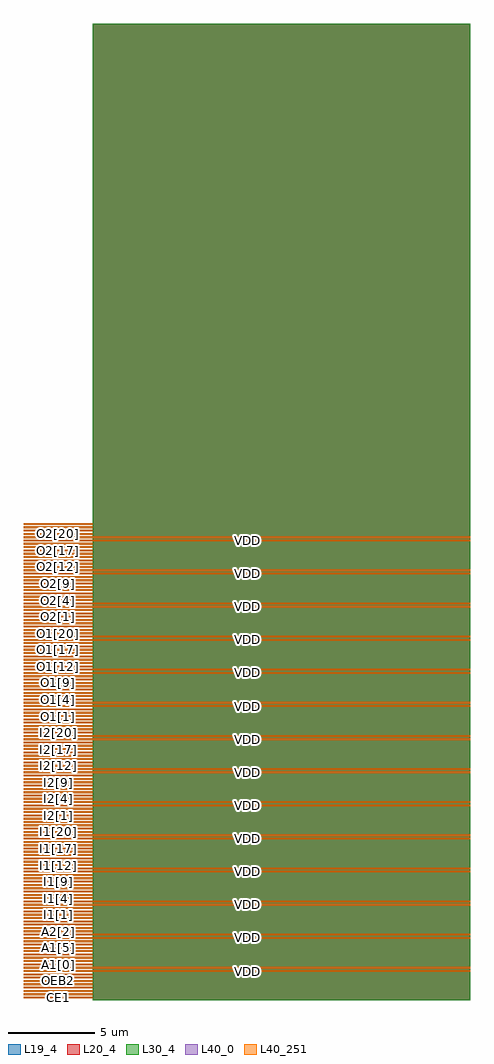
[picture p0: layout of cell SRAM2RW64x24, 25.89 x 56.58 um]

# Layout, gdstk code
import gdstk
lib = gdstk.Library(unit=1e-6, precision=1e-09)
def R(c, l, rs):  # rectangles x0, y0, x1, y1
    for r in rs: c.add(gdstk.rectangle(r[:2], r[2:], *l))
def A(c, l, x, y, w, h, nx, ny, dx, dy):  # array of equal rectangles
    R(c, l, [(x+i*dx, y+j*dy, x+i*dx+w, y+j*dy+h) for i in range(nx) for j in range(ny)])
L19_4 = (19, 4)
L20_4 = (20, 4)
L30_4 = (30, 4)
L40_0 = (40, 0)
L40_251 = (40, 251)

sram2rw64x24 = lib.new_cell('SRAM2RW64x24')
R(sram2rw64x24, L19_4, [(4,0,25.888,56.584)])
R(sram2rw64x24, L20_4, [(4,0,25.888,56.584)])
R(sram2rw64x24, L30_4, [(4,0,25.888,56.584)])
A(sram2rw64x24, L40_0, 0, 0.096, 4, 0.096, 1, 8, 0, 0.192)
A(sram2rw64x24, L40_0, 0, 2.016, 4, 0.096, 1, 8, 0, 0.192)
A(sram2rw64x24, L40_0, 0, 3.936, 4, 0.096, 1, 8, 0, 0.192)
A(sram2rw64x24, L40_0, 0, 5.856, 4, 0.096, 1, 8, 0, 0.192)
A(sram2rw64x24, L40_0, 0, 7.776, 4, 0.096, 1, 8, 0, 0.192)
A(sram2rw64x24, L40_0, 0, 9.696, 4, 0.096, 1, 8, 0, 0.192)
A(sram2rw64x24, L40_0, 0, 11.616, 4, 0.096, 1, 8, 0, 0.192)
A(sram2rw64x24, L40_0, 0, 13.536, 4, 0.096, 1, 8, 0, 0.192)
A(sram2rw64x24, L40_0, 0, 15.456, 4, 0.096, 1, 8, 0, 0.192)
A(sram2rw64x24, L40_0, 0, 17.376, 4, 0.096, 1, 8, 0, 0.192)
A(sram2rw64x24, L40_0, 0, 19.296, 4, 0.096, 1, 8, 0, 0.192)
A(sram2rw64x24, L40_0, 0, 21.216, 4, 0.096, 1, 8, 0, 0.192)
A(sram2rw64x24, L40_0, 0, 23.136, 4, 0.096, 1, 8, 0, 0.192)
A(sram2rw64x24, L40_0, 0, 25.056, 4, 0.096, 1, 8, 0, 0.192)
A(sram2rw64x24, L40_0, 0, 26.976, 4, 0.096, 1, 4, 0, 0.192)
R(sram2rw64x24, L40_0, [(0,1.632,25.888,1.728), (0,1.824,25.888,1.92), (0,3.552,25.888,3.648), (0,3.744,25.888,3.84), (0,5.472,25.888,5.568), (0,5.664,25.888,5.76), (0,7.392,25.888,7.488), (0,7.584,25.888,7.68), (0,9.312,25.888,9.408), (0,9.504,25.888,9.6), (0,11.232,25.888,11.328), (0,11.424,25.888,11.52), (0,13.152,25.888,13.248), (0,13.344,25.888,13.44), (0,15.072,25.888,15.168), (0,15.264,25.888,15.36), (0,16.992,25.888,17.088), (0,17.184,25.888,17.28), (0,18.912,25.888,19.008), (0,19.104,25.888,19.2), (0,20.832,25.888,20.928), (0,21.024,25.888,21.12), (0,22.752,25.888,22.848), (0,22.944,25.888,23.04), (0,24.672,25.888,24.768), (0,24.864,25.888,24.96), (0,26.592,25.888,26.688), (0,26.784,25.888,26.88)])
A(sram2rw64x24, L40_251, 0, 0.096, 4, 0.096, 1, 8, 0, 0.192)
A(sram2rw64x24, L40_251, 0, 2.016, 4, 0.096, 1, 8, 0, 0.192)
A(sram2rw64x24, L40_251, 0, 3.936, 4, 0.096, 1, 8, 0, 0.192)
A(sram2rw64x24, L40_251, 0, 5.856, 4, 0.096, 1, 8, 0, 0.192)
A(sram2rw64x24, L40_251, 0, 7.776, 4, 0.096, 1, 8, 0, 0.192)
A(sram2rw64x24, L40_251, 0, 9.696, 4, 0.096, 1, 8, 0, 0.192)
A(sram2rw64x24, L40_251, 0, 11.616, 4, 0.096, 1, 8, 0, 0.192)
A(sram2rw64x24, L40_251, 0, 13.536, 4, 0.096, 1, 8, 0, 0.192)
A(sram2rw64x24, L40_251, 0, 15.456, 4, 0.096, 1, 8, 0, 0.192)
A(sram2rw64x24, L40_251, 0, 17.376, 4, 0.096, 1, 8, 0, 0.192)
A(sram2rw64x24, L40_251, 0, 19.296, 4, 0.096, 1, 8, 0, 0.192)
A(sram2rw64x24, L40_251, 0, 21.216, 4, 0.096, 1, 8, 0, 0.192)
A(sram2rw64x24, L40_251, 0, 23.136, 4, 0.096, 1, 8, 0, 0.192)
A(sram2rw64x24, L40_251, 0, 25.056, 4, 0.096, 1, 8, 0, 0.192)
A(sram2rw64x24, L40_251, 0, 26.976, 4, 0.096, 1, 4, 0, 0.192)
R(sram2rw64x24, L40_251, [(0,1.632,25.888,1.728), (0,1.824,25.888,1.92), (0,3.552,25.888,3.648), (0,3.744,25.888,3.84), (0,5.472,25.888,5.568), (0,5.664,25.888,5.76), (0,7.392,25.888,7.488), (0,7.584,25.888,7.68), (0,9.312,25.888,9.408), (0,9.504,25.888,9.6), (0,11.232,25.888,11.328), (0,11.424,25.888,11.52), (0,13.152,25.888,13.248), (0,13.344,25.888,13.44), (0,15.072,25.888,15.168), (0,15.264,25.888,15.36), (0,16.992,25.888,17.088), (0,17.184,25.888,17.28), (0,18.912,25.888,19.008), (0,19.104,25.888,19.2), (0,20.832,25.888,20.928), (0,21.024,25.888,21.12), (0,22.752,25.888,22.848), (0,22.944,25.888,23.04), (0,24.672,25.888,24.768), (0,24.864,25.888,24.96), (0,26.592,25.888,26.688), (0,26.784,25.888,26.88)])
sram2rw64x24.add(gdstk.Label('CE1', (2,0.144), layer=40, texttype=0))
sram2rw64x24.add(gdstk.Label('CE2', (2,0.336), layer=40, texttype=0))
sram2rw64x24.add(gdstk.Label('WEB1', (2,0.528), layer=40, texttype=0))
sram2rw64x24.add(gdstk.Label('WEB2', (2,0.72), layer=40, texttype=0))
sram2rw64x24.add(gdstk.Label('OEB1', (2,0.912), layer=40, texttype=0))
sram2rw64x24.add(gdstk.Label('OEB2', (2,1.104), layer=40, texttype=0))
sram2rw64x24.add(gdstk.Label('CSB1', (2,1.296), layer=40, texttype=0))
sram2rw64x24.add(gdstk.Label('CSB2', (2,1.488), layer=40, texttype=0))
sram2rw64x24.add(gdstk.Label('A1[0]', (2,2.064), layer=40, texttype=0))
sram2rw64x24.add(gdstk.Label('A1[1]', (2,2.256), layer=40, texttype=0))
sram2rw64x24.add(gdstk.Label('A1[2]', (2,2.448), layer=40, texttype=0))
sram2rw64x24.add(gdstk.Label('A1[3]', (2,2.64), layer=40, texttype=0))
sram2rw64x24.add(gdstk.Label('A1[4]', (2,2.832), layer=40, texttype=0))
sram2rw64x24.add(gdstk.Label('A1[5]', (2,3.024), layer=40, texttype=0))
sram2rw64x24.add(gdstk.Label('A2[0]', (2,3.216), layer=40, texttype=0))
sram2rw64x24.add(gdstk.Label('A2[1]', (2,3.408), layer=40, texttype=0))
sram2rw64x24.add(gdstk.Label('A2[2]', (2,3.984), layer=40, texttype=0))
sram2rw64x24.add(gdstk.Label('A2[3]', (2,4.176), layer=40, texttype=0))
sram2rw64x24.add(gdstk.Label('A2[4]', (2,4.368), layer=40, texttype=0))
sram2rw64x24.add(gdstk.Label('A2[5]', (2,4.56), layer=40, texttype=0))
sram2rw64x24.add(gdstk.Label('I1[0]', (2,4.752), layer=40, texttype=0))
sram2rw64x24.add(gdstk.Label('I1[1]', (2,4.944), layer=40, texttype=0))
sram2rw64x24.add(gdstk.Label('I1[2]', (2,5.136), layer=40, texttype=0))
sram2rw64x24.add(gdstk.Label('I1[3]', (2,5.328), layer=40, texttype=0))
sram2rw64x24.add(gdstk.Label('I1[4]', (2,5.904), layer=40, texttype=0))
sram2rw64x24.add(gdstk.Label('I1[5]', (2,6.096), layer=40, texttype=0))
sram2rw64x24.add(gdstk.Label('I1[6]', (2,6.288), layer=40, texttype=0))
sram2rw64x24.add(gdstk.Label('I1[7]', (2,6.48), layer=40, texttype=0))
sram2rw64x24.add(gdstk.Label('I1[8]', (2,6.672), layer=40, texttype=0))
sram2rw64x24.add(gdstk.Label('I1[9]', (2,6.864), layer=40, texttype=0))
sram2rw64x24.add(gdstk.Label('I1[10]', (2,7.056), layer=40, texttype=0))
sram2rw64x24.add(gdstk.Label('I1[11]', (2,7.248), layer=40, texttype=0))
sram2rw64x24.add(gdstk.Label('I1[12]', (2,7.824), layer=40, texttype=0))
sram2rw64x24.add(gdstk.Label('I1[13]', (2,8.016), layer=40, texttype=0))
sram2rw64x24.add(gdstk.Label('I1[14]', (2,8.208), layer=40, texttype=0))
sram2rw64x24.add(gdstk.Label('I1[15]', (2,8.4), layer=40, texttype=0))
sram2rw64x24.add(gdstk.Label('I1[16]', (2,8.592), layer=40, texttype=0))
sram2rw64x24.add(gdstk.Label('I1[17]', (2,8.784), layer=40, texttype=0))
sram2rw64x24.add(gdstk.Label('I1[18]', (2,8.976), layer=40, texttype=0))
sram2rw64x24.add(gdstk.Label('I1[19]', (2,9.168), layer=40, texttype=0))
sram2rw64x24.add(gdstk.Label('I1[20]', (2,9.744), layer=40, texttype=0))
sram2rw64x24.add(gdstk.Label('I1[21]', (2,9.936), layer=40, texttype=0))
sram2rw64x24.add(gdstk.Label('I1[22]', (2,10.128), layer=40, texttype=0))
sram2rw64x24.add(gdstk.Label('I1[23]', (2,10.32), layer=40, texttype=0))
sram2rw64x24.add(gdstk.Label('I2[0]', (2,10.512), layer=40, texttype=0))
sram2rw64x24.add(gdstk.Label('I2[1]', (2,10.704), layer=40, texttype=0))
sram2rw64x24.add(gdstk.Label('I2[2]', (2,10.896), layer=40, texttype=0))
sram2rw64x24.add(gdstk.Label('I2[3]', (2,11.088), layer=40, texttype=0))
sram2rw64x24.add(gdstk.Label('I2[4]', (2,11.664), layer=40, texttype=0))
sram2rw64x24.add(gdstk.Label('I2[5]', (2,11.856), layer=40, texttype=0))
sram2rw64x24.add(gdstk.Label('I2[6]', (2,12.048), layer=40, texttype=0))
sram2rw64x24.add(gdstk.Label('I2[7]', (2,12.24), layer=40, texttype=0))
sram2rw64x24.add(gdstk.Label('I2[8]', (2,12.432), layer=40, texttype=0))
sram2rw64x24.add(gdstk.Label('I2[9]', (2,12.624), layer=40, texttype=0))
sram2rw64x24.add(gdstk.Label('I2[10]', (2,12.816), layer=40, texttype=0))
sram2rw64x24.add(gdstk.Label('I2[11]', (2,13.008), layer=40, texttype=0))
sram2rw64x24.add(gdstk.Label('I2[12]', (2,13.584), layer=40, texttype=0))
sram2rw64x24.add(gdstk.Label('I2[13]', (2,13.776), layer=40, texttype=0))
sram2rw64x24.add(gdstk.Label('I2[14]', (2,13.968), layer=40, texttype=0))
sram2rw64x24.add(gdstk.Label('I2[15]', (2,14.16), layer=40, texttype=0))
sram2rw64x24.add(gdstk.Label('I2[16]', (2,14.352), layer=40, texttype=0))
sram2rw64x24.add(gdstk.Label('I2[17]', (2,14.544), layer=40, texttype=0))
sram2rw64x24.add(gdstk.Label('I2[18]', (2,14.736), layer=40, texttype=0))
sram2rw64x24.add(gdstk.Label('I2[19]', (2,14.928), layer=40, texttype=0))
sram2rw64x24.add(gdstk.Label('I2[20]', (2,15.504), layer=40, texttype=0))
sram2rw64x24.add(gdstk.Label('I2[21]', (2,15.696), layer=40, texttype=0))
sram2rw64x24.add(gdstk.Label('I2[22]', (2,15.888), layer=40, texttype=0))
sram2rw64x24.add(gdstk.Label('I2[23]', (2,16.08), layer=40, texttype=0))
sram2rw64x24.add(gdstk.Label('O1[0]', (2,16.272), layer=40, texttype=0))
sram2rw64x24.add(gdstk.Label('O1[1]', (2,16.464), layer=40, texttype=0))
sram2rw64x24.add(gdstk.Label('O1[2]', (2,16.656), layer=40, texttype=0))
sram2rw64x24.add(gdstk.Label('O1[3]', (2,16.848), layer=40, texttype=0))
sram2rw64x24.add(gdstk.Label('O1[4]', (2,17.424), layer=40, texttype=0))
sram2rw64x24.add(gdstk.Label('O1[5]', (2,17.616), layer=40, texttype=0))
sram2rw64x24.add(gdstk.Label('O1[6]', (2,17.808), layer=40, texttype=0))
sram2rw64x24.add(gdstk.Label('O1[7]', (2,18), layer=40, texttype=0))
sram2rw64x24.add(gdstk.Label('O1[8]', (2,18.192), layer=40, texttype=0))
sram2rw64x24.add(gdstk.Label('O1[9]', (2,18.384), layer=40, texttype=0))
sram2rw64x24.add(gdstk.Label('O1[10]', (2,18.576), layer=40, texttype=0))
sram2rw64x24.add(gdstk.Label('O1[11]', (2,18.768), layer=40, texttype=0))
sram2rw64x24.add(gdstk.Label('O1[12]', (2,19.344), layer=40, texttype=0))
sram2rw64x24.add(gdstk.Label('O1[13]', (2,19.536), layer=40, texttype=0))
sram2rw64x24.add(gdstk.Label('O1[14]', (2,19.728), layer=40, texttype=0))
sram2rw64x24.add(gdstk.Label('O1[15]', (2,19.92), layer=40, texttype=0))
sram2rw64x24.add(gdstk.Label('O1[16]', (2,20.112), layer=40, texttype=0))
sram2rw64x24.add(gdstk.Label('O1[17]', (2,20.304), layer=40, texttype=0))
sram2rw64x24.add(gdstk.Label('O1[18]', (2,20.496), layer=40, texttype=0))
sram2rw64x24.add(gdstk.Label('O1[19]', (2,20.688), layer=40, texttype=0))
sram2rw64x24.add(gdstk.Label('O1[20]', (2,21.264), layer=40, texttype=0))
sram2rw64x24.add(gdstk.Label('O1[21]', (2,21.456), layer=40, texttype=0))
sram2rw64x24.add(gdstk.Label('O1[22]', (2,21.648), layer=40, texttype=0))
sram2rw64x24.add(gdstk.Label('O1[23]', (2,21.84), layer=40, texttype=0))
sram2rw64x24.add(gdstk.Label('O2[0]', (2,22.032), layer=40, texttype=0))
sram2rw64x24.add(gdstk.Label('O2[1]', (2,22.224), layer=40, texttype=0))
sram2rw64x24.add(gdstk.Label('O2[2]', (2,22.416), layer=40, texttype=0))
sram2rw64x24.add(gdstk.Label('O2[3]', (2,22.608), layer=40, texttype=0))
sram2rw64x24.add(gdstk.Label('O2[4]', (2,23.184), layer=40, texttype=0))
sram2rw64x24.add(gdstk.Label('O2[5]', (2,23.376), layer=40, texttype=0))
sram2rw64x24.add(gdstk.Label('O2[6]', (2,23.568), layer=40, texttype=0))
sram2rw64x24.add(gdstk.Label('O2[7]', (2,23.76), layer=40, texttype=0))
sram2rw64x24.add(gdstk.Label('O2[8]', (2,23.952), layer=40, texttype=0))
sram2rw64x24.add(gdstk.Label('O2[9]', (2,24.144), layer=40, texttype=0))
sram2rw64x24.add(gdstk.Label('O2[10]', (2,24.336), layer=40, texttype=0))
sram2rw64x24.add(gdstk.Label('O2[11]', (2,24.528), layer=40, texttype=0))
sram2rw64x24.add(gdstk.Label('O2[12]', (2,25.104), layer=40, texttype=0))
sram2rw64x24.add(gdstk.Label('O2[13]', (2,25.296), layer=40, texttype=0))
sram2rw64x24.add(gdstk.Label('O2[14]', (2,25.488), layer=40, texttype=0))
sram2rw64x24.add(gdstk.Label('O2[15]', (2,25.68), layer=40, texttype=0))
sram2rw64x24.add(gdstk.Label('O2[16]', (2,25.872), layer=40, texttype=0))
sram2rw64x24.add(gdstk.Label('O2[17]', (2,26.064), layer=40, texttype=0))
sram2rw64x24.add(gdstk.Label('O2[18]', (2,26.256), layer=40, texttype=0))
sram2rw64x24.add(gdstk.Label('O2[19]', (2,26.448), layer=40, texttype=0))
sram2rw64x24.add(gdstk.Label('O2[20]', (2,27.024), layer=40, texttype=0))
sram2rw64x24.add(gdstk.Label('O2[21]', (2,27.216), layer=40, texttype=0))
sram2rw64x24.add(gdstk.Label('O2[22]', (2,27.408), layer=40, texttype=0))
sram2rw64x24.add(gdstk.Label('O2[23]', (2,27.6), layer=40, texttype=0))
sram2rw64x24.add(gdstk.Label('VDD', (12.944,1.68), layer=40, texttype=0))
sram2rw64x24.add(gdstk.Label('VDD', (12.944,3.6), layer=40, texttype=0))
sram2rw64x24.add(gdstk.Label('VDD', (12.944,5.52), layer=40, texttype=0))
sram2rw64x24.add(gdstk.Label('VDD', (12.944,7.44), layer=40, texttype=0))
sram2rw64x24.add(gdstk.Label('VDD', (12.944,9.36), layer=40, texttype=0))
sram2rw64x24.add(gdstk.Label('VDD', (12.944,11.28), layer=40, texttype=0))
sram2rw64x24.add(gdstk.Label('VDD', (12.944,13.2), layer=40, texttype=0))
sram2rw64x24.add(gdstk.Label('VDD', (12.944,15.12), layer=40, texttype=0))
sram2rw64x24.add(gdstk.Label('VDD', (12.944,17.04), layer=40, texttype=0))
sram2rw64x24.add(gdstk.Label('VDD', (12.944,18.96), layer=40, texttype=0))
sram2rw64x24.add(gdstk.Label('VDD', (12.944,20.88), layer=40, texttype=0))
sram2rw64x24.add(gdstk.Label('VDD', (12.944,22.8), layer=40, texttype=0))
sram2rw64x24.add(gdstk.Label('VDD', (12.944,24.72), layer=40, texttype=0))
sram2rw64x24.add(gdstk.Label('VDD', (12.944,26.64), layer=40, texttype=0))
sram2rw64x24.add(gdstk.Label('VSS', (12.944,1.872), layer=40, texttype=0))
sram2rw64x24.add(gdstk.Label('VSS', (12.944,3.792), layer=40, texttype=0))
sram2rw64x24.add(gdstk.Label('VSS', (12.944,5.712), layer=40, texttype=0))
sram2rw64x24.add(gdstk.Label('VSS', (12.944,7.632), layer=40, texttype=0))
sram2rw64x24.add(gdstk.Label('VSS', (12.944,9.552), layer=40, texttype=0))
sram2rw64x24.add(gdstk.Label('VSS', (12.944,11.472), layer=40, texttype=0))
sram2rw64x24.add(gdstk.Label('VSS', (12.944,13.392), layer=40, texttype=0))
sram2rw64x24.add(gdstk.Label('VSS', (12.944,15.312), layer=40, texttype=0))
sram2rw64x24.add(gdstk.Label('VSS', (12.944,17.232), layer=40, texttype=0))
sram2rw64x24.add(gdstk.Label('VSS', (12.944,19.152), layer=40, texttype=0))
sram2rw64x24.add(gdstk.Label('VSS', (12.944,21.072), layer=40, texttype=0))
sram2rw64x24.add(gdstk.Label('VSS', (12.944,22.992), layer=40, texttype=0))
sram2rw64x24.add(gdstk.Label('VSS', (12.944,24.912), layer=40, texttype=0))
sram2rw64x24.add(gdstk.Label('VSS', (12.944,26.832), layer=40, texttype=0))

lib.write_gds('SRAM2RW64x24.gds')
